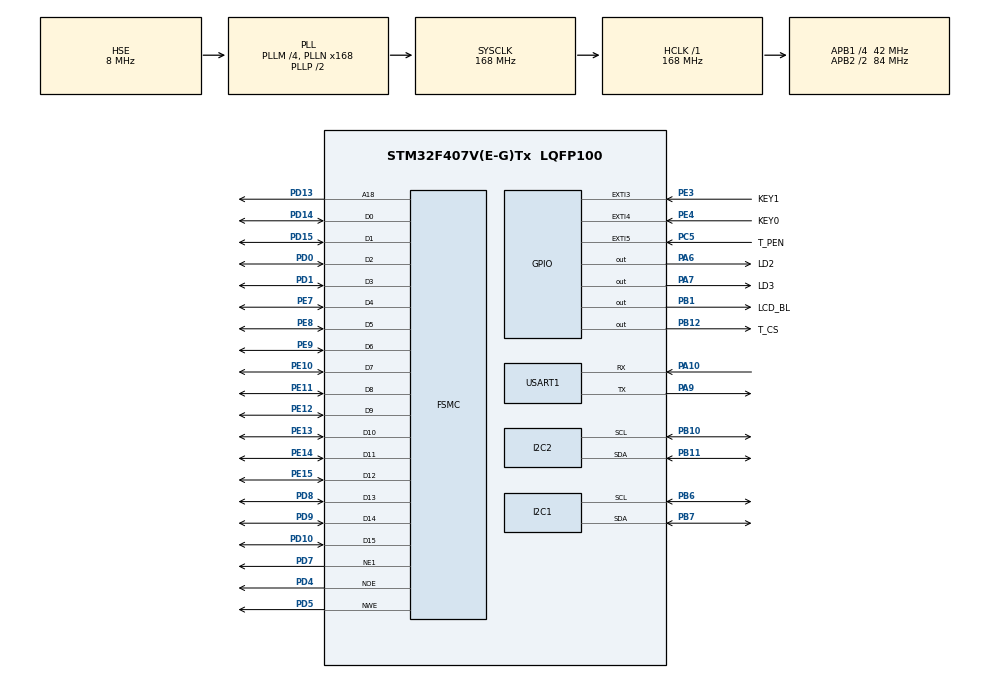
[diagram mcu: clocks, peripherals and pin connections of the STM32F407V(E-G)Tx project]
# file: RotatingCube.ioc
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FSMC.AddressSetupTime1=1
FSMC.BusTurnAroundDuration1=0
FSMC.DataSetupTime1=5
FSMC.ExtendedMode1=FSMC_EXTENDED_MODE_DISABLE
I2C1.I2C_Mode=I2C_Fast
I2C2.I2C_Mode=I2C_Fast
Mcu.Family=STM32F4
Mcu.Name=STM32F407V(E-G)Tx
Mcu.Package=LQFP100
NVIC.EXTI3_IRQn=true\:0\:0\:false\:false\:true\:true\:true\:true
NVIC.EXTI4_IRQn=true\:0\:0\:false\:false\:true\:true\:true\:true
NVIC.EXTI9_5_IRQn=true\:0\:0\:false\:false\:true\:true\:true\:true
NVIC.PriorityGroup=NVIC_PRIORITYGROUP_4
PA10.Mode=Asynchronous
PA10.Signal=USART1_RX
PA13.Mode=Serial_Wire
PA13.Signal=SYS_JTMS-SWDIO
PA14.Mode=Serial_Wire
PA14.Signal=SYS_JTCK-SWCLK
PA6.GPIO_Label=LD2
PA6.PinState=GPIO_PIN_SET
PA6.Signal=GPIO_Output
PA7.GPIO_Label=LD3
PA7.PinState=GPIO_PIN_SET
PA7.Signal=GPIO_Output
PA9.Mode=Asynchronous
PA9.Signal=USART1_TX
PB1.GPIO_Label=LCD_BL
PB1.Signal=GPIO_Output
PB10.Mode=I2C
PB10.Signal=I2C2_SCL
PB11.Mode=I2C
PB11.Signal=I2C2_SDA
PB12.GPIO_Label=T_CS
PB12.GPIO_PuPd=GPIO_PULLUP
PB12.PinState=GPIO_PIN_SET
PB12.Signal=GPIO_Output
PB13.Signal=SPI2_SCK
PB14.Signal=SPI2_MISO
PB15.Signal=SPI2_MOSI
PB6.Mode=I2C
PB6.Signal=I2C1_SCL
PB7.Mode=I2C
PB7.Signal=I2C1_SDA
PC14-OSC32_IN.Mode=LSE-External-Oscillator
PC14-OSC32_IN.Signal=RCC_OSC32_IN
PC15-OSC32_OUT.Mode=LSE-External-Oscillator
PC15-OSC32_OUT.Signal=RCC_OSC32_OUT
PC5.GPIO_Label=T_PEN
PC5.GPIO_ModeDefaultEXTI=GPIO_MODE_IT_FALLING
PC5.GPIO_PuPd=GPIO_PULLUP
PC5.Signal=GPXTI5
PD0.Mode=16b-d1
PD0.Signal=FSMC_D2
PD1.Mode=16b-d1
PD1.Signal=FSMC_D3
PD10.Mode=16b-d1
PD10.Signal=FSMC_D15
PD13.Mode=A18_1
PD13.Signal=FSMC_A18
PD14.Mode=16b-d1
PD14.Signal=FSMC_D0
PD15.Mode=16b-d1
PD15.Signal=FSMC_D1
PD4.Mode=Lcd1
PD4.Signal=FSMC_NOE
PD5.Mode=Lcd1
PD5.Signal=FSMC_NWE
PD7.Mode=NorPsramChipSelect1_1
PD7.Signal=FSMC_NE1
PD8.Mode=16b-d1
PD8.Signal=FSMC_D13
PD9.Mode=16b-d1
PD9.Signal=FSMC_D14
PE10.Mode=16b-d1
PE10.Signal=FSMC_D7
PE11.Mode=16b-d1
PE11.Signal=FSMC_D8
PE12.Mode=16b-d1
PE12.Signal=FSMC_D9
PE13.Mode=16b-d1
PE13.Signal=FSMC_D10
PE14.Mode=16b-d1
PE14.Signal=FSMC_D11
PE15.Mode=16b-d1
PE15.Signal=FSMC_D12
PE3.GPIO_Label=KEY1
PE3.GPIO_ModeDefaultEXTI=GPIO_MODE_IT_FALLING
PE3.GPIO_PuPd=GPIO_PULLUP
PE3.Signal=GPXTI3
PE4.GPIO_Label=KEY0
PE4.GPIO_ModeDefaultEXTI=GPIO_MODE_IT_FALLING
PE4.GPIO_PuPd=GPIO_PULLUP
PE4.Signal=GPXTI4
PE7.Mode=16b-d1
PE7.Signal=FSMC_D4
PE8.Mode=16b-d1
PE8.Signal=FSMC_D5
PE9.Mode=16b-d1
PE9.Signal=FSMC_D6
PH0-OSC_IN.Mode=HSE-External-Oscillator
PH0-OSC_IN.Signal=RCC_OSC_IN
PH1-OSC_OUT.Mode=HSE-External-Oscillator
PH1-OSC_OUT.Signal=RCC_OSC_OUT
ProjectManager.HeapSize=0x200
ProjectManager.StackSize=0x400
ProjectManager.TargetToolchain=STM32CubeIDE
RCC.48MHZClocksFreq_Value=84000000
RCC.AHBFreq_Value=168000000
RCC.APB1CLKDivider=RCC_HCLK_DIV4
RCC.APB1Freq_Value=42000000
RCC.APB1TimFreq_Value=84000000
RCC.APB2CLKDivider=RCC_HCLK_DIV2
RCC.APB2Freq_Value=84000000
RCC.APB2TimFreq_Value=168000000
RCC.CortexFreq_Value=168000000
RCC.HCLKFreq_Value=168000000
RCC.HSE_VALUE=8000000
RCC.HSI_VALUE=16000000
RCC.PLLM=4
RCC.PLLN=168
RCC.PLLSourceVirtual=RCC_PLLSOURCE_HSE
RCC.RCC_RTC_Clock_Source=RCC_RTCCLKSOURCE_LSE
RCC.RCC_RTC_Clock_SourceVirtual=RCC_RTCCLKSOURCE_LSE
RCC.SYSCLKFreq_VALUE=168000000
RCC.SYSCLKSource=RCC_SYSCLKSOURCE_PLLCLK
RCC.VCOOutputFreq_Value=336000000
STMicroelectronics.X-CUBE-TOUCHGFX.4.21.4.tgfx_block_size=1920
STMicroelectronics.X-CUBE-TOUCHGFX.4.21.4.tgfx_buffering_strategy=Partial
STMicroelectronics.X-CUBE-TOUCHGFX.4.21.4.tgfx_custom_height=320
STMicroelectronics.X-CUBE-TOUCHGFX.4.21.4.tgfx_custom_width=240
STMicroelectronics.X-CUBE-TOUCHGFX.4.21.4.tgfx_display_interface=disp_fmc
STMicroelectronics.X-CUBE-TOUCHGFX.4.21.4.tgfx_number_of_blocks=5
STMicroelectronics.X-CUBE-TOUCHGFX.4.21.4_IsPackSelfContextualization=true
USART1.VirtualMode=VM_ASYNC
board=custom

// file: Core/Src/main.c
/* USER CODE BEGIN Header */
/**
  ******************************************************************************
  * @file           : main.c
  * @brief          : Main program body
  ******************************************************************************
  * @attention
  *
  * Copyright (c) 2024 STMicroelectronics.
  * All rights reserved.
  *
  * This software is licensed under terms that can be found in the LICENSE file
  * in the root directory of this software component.
  * If no LICENSE file comes with this software, it is provided AS-IS.
  *
  ******************************************************************************
  */
/* USER CODE END Header */
#include "main.h"
#include "i2c.h"
#include "usart.h"
#include "gpio.h"
#include "fsmc.h"

/* USER CODE BEGIN Includes */
#include "ili9341.h"
#include "mpu6050.h"
#include "wire2.h"
#include "wire3.h"
#include "wireframe_render_ili9341.h"

#include <stdio.h>

/* USER CODE END Includes */

/* USER CODE BEGIN PD */

void CalculateAngles(double* angle_dX, double* angle_dY, MPU6050_t* MPU6050);
void UpdateText(double angle_dX, double angle_dY, MPU6050_t * MPU6050);
void UpdateFrame(double angle_dX, double angle_dY, MPU6050_t* MPU6050);

/* USER CODE END PD */

/* USER CODE BEGIN PV */

DisplaySettings ds = {.center_x = 120, .center_y = 200, .fov = 1.8};

/* Geometry */
Vec3 cube_pos = {0, 0, 0.7};
const double size = 0.45;
const double atom_size = 0.02;

/* Movement constants */
const double smooth_factor = 0.4;
const double sensitivity = 0.025;
const double angle_limit = 270;

/* Colors */
uint16_t bg_color = COLOR_BLACK;
uint16_t text_color = COLOR_WHITE;
uint16_t cube_color = COLOR_GREEN;
uint16_t octahedron_color = COLOR_YELLOW;
uint16_t atom_color = COLOR_RED;

Wire3 *cube, *octahedron;
const uint8_t num_atoms = 14;
Bubble atoms[14];

/* USER CODE END PV */

void SystemClock_Config(void);
/* USER CODE BEGIN PFP */

void GyroWire3(Wire3 * wire3, double angle_x, double angle_y, Vec3 pivot);

/* USER CODE END PFP */

int main(void)
{

  /* USER CODE BEGIN 1 */
	ds.res_x = lcdGetWidth();
	ds.res_y = lcdGetHeight();
	cube = Wire3_MakeCube(size);
	octahedron = Wire3_MakeOctahedron(size);

	/* Set initial positions */
	Wire3_Move(cube, &cube_pos);
	Wire3_Move(octahedron, &cube_pos);

	uint8_t i = 0;

	for (i = 0; i < cube->num_vertices; ++i)
	{
		atoms[i].pos = cube->vertices[i];
		atoms[i].r = atom_size;
	}

	for (i = 0; i < octahedron->num_vertices; ++i)
	{
		atoms[cube->num_vertices + i].pos = octahedron->vertices[i];
		atoms[cube->num_vertices + i].r = atom_size;
	}

	double angle_dX = 0, angle_dY = 0;

  /* USER CODE END 1 */

  /* MCU Configuration--------------------------------------------------------*/

  /* Reset of all peripherals, Initializes the Flash interface and the Systick. */
  HAL_Init();

  /* USER CODE BEGIN Init */
  MPU6050_t MPU6050;
  /* USER CODE END Init */

  /* Configure the system clock */
  SystemClock_Config();

  /* Initialize all configured peripherals */
  MX_GPIO_Init();
  MX_FSMC_Init();
  MX_USART1_UART_Init();
  MX_I2C1_Init();
  MX_I2C2_Init();
  /* USER CODE BEGIN 2 */
  printf("%8lu: UART is Ok!\r\n", HAL_GetTick() );

    /* Init LCD */
    lcdBacklightOn();
    lcdInit();
    lcdSetOrientation(LCD_ORIENTATION_PORTRAIT_MIRROR);
    lcdSetTextFont(&Font16);
    lcdSetTextColor(text_color, bg_color);
    lcdFillRGB(bg_color);

    unsigned short Text_Y = 0;
    const unsigned short text_disp = 5;

    /* Static Drawing */
    lcdDrawHLine(1, 239, 70, COLOR_WHITE);

	Text_Y = 2;
	lcdSetCursor(text_disp, Text_Y);
	lcdPrintf("AngleX:");

	Text_Y += lcdGetTextFont()->Height;
	lcdSetCursor(text_disp, Text_Y);
	lcdPrintf("AngleY:");

	Text_Y += lcdGetTextFont()->Height;
	lcdSetCursor(text_disp, Text_Y);
	lcdPrintf("dAngleX:");

	Text_Y += lcdGetTextFont()->Height;
	lcdSetCursor(text_disp, Text_Y);
	lcdPrintf("dAngleY:");

    /* Init MPU6050 */
    while (MPU6050_Init(&hi2c1) == 1);

  /* USER CODE END 2 */

  /* Infinite loop */
  /* USER CODE BEGIN WHILE */
  while (1)
  {
	/* Read data */
	MPU6050_Read_All(&hi2c1, &MPU6050);
	HAL_Delay(1);

	CalculateAngles(&angle_dX, &angle_dY, &MPU6050);
	UpdateText(angle_dX, angle_dY, &MPU6050);
	UpdateFrame(angle_dX, angle_dY, &MPU6050);

    /* USER CODE END WHILE */

  }
}

void SystemClock_Config(void)
{
  RCC_OscInitTypeDef RCC_OscInitStruct = {0};
  RCC_ClkInitTypeDef RCC_ClkInitStruct = {0};

  /** Configure the main internal regulator output voltage
  */
  __HAL_RCC_PWR_CLK_ENABLE();
  __HAL_PWR_VOLTAGESCALING_CONFIG(PWR_REGULATOR_VOLTAGE_SCALE1);

  /** Initializes the RCC Oscillators according to the specified parameters
  * in the RCC_OscInitTypeDef structure.
  */
  RCC_OscInitStruct.OscillatorType = RCC_OSCILLATORTYPE_HSE;
  RCC_OscInitStruct.HSEState = RCC_HSE_ON;
  RCC_OscInitStruct.PLL.PLLState = RCC_PLL_ON;
  RCC_OscInitStruct.PLL.PLLSource = RCC_PLLSOURCE_HSE;
  RCC_OscInitStruct.PLL.PLLM = 4;
  RCC_OscInitStruct.PLL.PLLN = 168;
  RCC_OscInitStruct.PLL.PLLP = RCC_PLLP_DIV2;
  RCC_OscInitStruct.PLL.PLLQ = 4;
  if (HAL_RCC_OscConfig(&RCC_OscInitStruct) != HAL_OK)
  {
    Error_Handler();
  }

  /** Initializes the CPU, AHB and APB buses clocks
  */
  RCC_ClkInitStruct.ClockType = RCC_CLOCKTYPE_HCLK|RCC_CLOCKTYPE_SYSCLK
                              |RCC_CLOCKTYPE_PCLK1|RCC_CLOCKTYPE_PCLK2;
  RCC_ClkInitStruct.SYSCLKSource = RCC_SYSCLKSOURCE_PLLCLK;
  RCC_ClkInitStruct.AHBCLKDivider = RCC_SYSCLK_DIV1;
  RCC_ClkInitStruct.APB1CLKDivider = RCC_HCLK_DIV4;
  RCC_ClkInitStruct.APB2CLKDivider = RCC_HCLK_DIV2;

  if (HAL_RCC_ClockConfig(&RCC_ClkInitStruct, FLASH_LATENCY_5) != HAL_OK)
  {
    Error_Handler();
  }
}

/* USER CODE BEGIN 4 */
int _write(int file, char *ptr, int len)
{
	HAL_UART_Transmit(&huart1, (uint8_t *) ptr, len, HAL_MAX_DELAY);
	return len;
}

void CalculateAngles(double* angle_dX, double* angle_dY, MPU6050_t* MPU6050)
{
	static double angle_dX_prev = 0;
	static double angle_dY_prev = 0;
	static double angle_X_prev = 0;
	static double angle_Y_prev = 0;

	/* Calculate angles */
	*angle_dX = MPU6050->KalmanAngleX - angle_X_prev;
	*angle_dY = MPU6050->KalmanAngleY - angle_Y_prev;

	/* Handle angle overflow */
	if (*angle_dX < -angle_limit)
	{
		*angle_dX += 360;
	}

	if (*angle_dX > angle_limit)
	{
		*angle_dX -= 360;
	}

	if (*angle_dY < -angle_limit)
	{
		*angle_dY += 360;
	}

	if (*angle_dY > angle_limit)
	{
		*angle_dY -= 360;
	}

	/* Smooth out the angles */
	*angle_dX = *angle_dX * (1 - smooth_factor) + angle_dX_prev * smooth_factor;
	*angle_dY = *angle_dY * (1 - smooth_factor) + angle_dY_prev * smooth_factor;

	angle_X_prev = MPU6050->KalmanAngleX;
	angle_Y_prev = MPU6050->KalmanAngleY;
	angle_dX_prev = *angle_dX;
	angle_dY_prev = *angle_dY;
}

void UpdateText(double angle_dX, double angle_dY, MPU6050_t * MPU6050)
{
    static unsigned short text_disp = 5;
    unsigned short digit_disp = text_disp + lcdGetTextFont()->Width * 10;

	/* Draw text */
	uint16_t Text_Y = 2;
	lcdSetCursor(digit_disp, Text_Y);
	lcdPrintf("% 6.1f", MPU6050->KalmanAngleX);

	Text_Y += lcdGetTextFont()->Height;
	lcdSetCursor(digit_disp, Text_Y);
	lcdPrintf("% 6.1f", MPU6050->KalmanAngleY);

	Text_Y += lcdGetTextFont()->Height;
	lcdSetCursor(digit_disp, Text_Y);
	lcdPrintf("% 6.1f", angle_dX);

	Text_Y += lcdGetTextFont()->Height;
	lcdSetCursor(digit_disp, Text_Y);
	lcdPrintf("% 6.1f", angle_dY);

	printf("AngleX = %.1f\r\nAngleY = %.1f\r\ndAngleX = %.1f\r\ndAngleX =%.1f\r\n",
			MPU6050->KalmanAngleX,
			MPU6050->KalmanAngleY,
			angle_dX,
			angle_dY);
	printf("\x1b[1F\x1b[1F\x1b[1F\x1b[1F");
}

void UpdateFrame(double angle_dX, double angle_dY, MPU6050_t * MPU6050)
{
	uint8_t i = 0;

	/* Delete old graphics */
	for (i = 0; i < num_atoms; ++i)
	{
		RenderBubble(atoms + i, bg_color, &ds);
	}
	RenderWire3(cube, bg_color, &ds);
	RenderWire3(octahedron, bg_color, &ds);

	/* Rotate solids */
	GyroWire3(cube, angle_dX, angle_dY, cube_pos);
	GyroWire3(octahedron, angle_dX, angle_dY, cube_pos);

	/* Update atom positions */
	for (i = 0; i < cube->num_vertices; ++i)
	{
		atoms[i].pos = cube->vertices[i];
	}

	for (i = 0; i < octahedron->num_vertices; ++i)
	{
		atoms[cube->num_vertices + i].pos = octahedron->vertices[i];
	}

	/* Render */
	for (i = 0; i < num_atoms; ++i)
	{
		RenderBubble(atoms + i, atom_color, &ds);
	}

	RenderWire3(cube, cube_color, &ds);
	RenderWire3(octahedron, octahedron_color, &ds);
}

void GyroWire3(Wire3 * wire3, double angle_x, double angle_y, Vec3 pivot)
{
	Trans3 rot_mat_x = Trans3_RotX(angle_x * sensitivity, &pivot);
	Wire3_Transform(wire3, &rot_mat_x);

	Trans3 rot_mat_y = Trans3_RotY(-angle_y * sensitivity, &pivot);
	Wire3_Transform(wire3, &rot_mat_y);
}

/* USER CODE END 4 */

void Error_Handler(void)
{
  __disable_irq();
  while (1)
  {
  }
}
